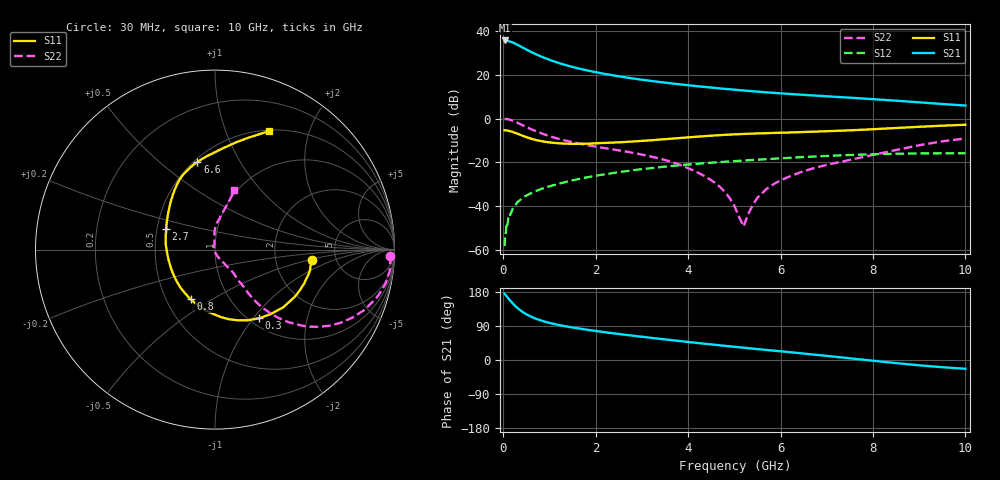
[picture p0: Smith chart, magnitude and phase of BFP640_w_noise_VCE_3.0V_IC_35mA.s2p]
! (c) 2013  Infineon Technologies AG, Munich
! Infineon Technologies  Discrete & RF Semiconductors
! BFP640
! VCE =  3.0 V,  IC =  35 mA
! Common Emitter S-Parameters:  Apr 2013
# GHz  S  MA  R  50
!  f  S11  S21  S12  S22
! GHz  MAG  ANG  MAG  ANG  MAG  ANG  MAG  ANG
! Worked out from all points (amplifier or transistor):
!   99 points, 30 MHz to 10 GHz, reference 50 ohm
!   highest |S21| = 35.8 dB at 30 MHz (marker M1)
!   |S21| within 3 dB of that: start of sweep to 399.2 MHz
!   unconditionally stable (mu >= 1): 2.084 GHz to end of sweep
!   at 350 MHz: K = 0.40, MSG = 35.5 dB, |S12| = -37.6 dB
!   at 3.5 GHz: K = 1.05, MAG = 17.8 dB, |S12| = -22.0 dB
!   at 10 GHz: K = 1.06, MAG = 9.4 dB, |S12| = -15.8 dB
!   lowest NFmin = 1.16 dB at 450 MHz
!   S11 on the Smith chart (normalised r, x): 30 MHz: 3.27, -0.51; 300 MHz: 1.11, -1.07; 800 MHz: 0.66, -0.41; 2.7 GHz: 0.56, +0.14; 6.6 GHz: 0.52, +0.68; 10 GHz: 0.51, +1.42
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0.03  0.541 -5.9  61.66 174.7  0.0012 92.8  0.9751 -2.0
0.08  0.5363 -16.5  60.85 167.2  0.0034 83.0  0.9751 -8.6
0.15  0.5158 -30.9  58.12 156.9  0.0062 78.6  0.9374 -16.8
0.2  0.4976 -40.3  55.49 150.1  0.0084 77.9  0.8987 -21.9
0.25  0.4749 -49.1  52.69 143.8  0.0097 78.2  0.8546 -26.3
0.3  0.4546 -57.4  49.53 138.2  0.0121 72.6  0.8091 -30.3
0.4  0.4136 -72.3  43.61 128.5  0.0148 68.6  0.721 -36.6
0.5  0.3768 -85.2  38.31 120.8  0.0173 67.0  0.643 -41.2
0.6  0.3479 -96.7  33.82 114.5  0.0196 65.9  0.5763 -44.6
0.7  0.3248 -107.0  30.09 109.3  0.0218 64.9  0.5202 -47.1
0.8  0.3089 -116.2  26.97 105.0  0.0241 64.1  0.4726 -48.9
1  0.2858 -132.3  22.23 98.0  0.0281 62.7  0.3978 -51.3
1.2  0.2727 -145.6  18.82 92.5  0.0323 61.7  0.3442 -52.3
1.7  0.2655 -170.9  13.54 81.9  0.0428 59.3  0.2616 -52.3
2.2  0.2775 171.5  10.56 73.3  0.053 56.1  0.2109 -52.8
2.7  0.295 157.5  8.639 65.7  0.0634 52.7  0.1728 -51.8
3.4  0.3322 141.6  6.871 55.7  0.0776 46.7  0.1203 -54.3
5.1  0.441 115.9  4.501 33.6  0.1081 31.9  0.0057 -116.0
6.6  0.4977 101.4  3.446 15.7  0.1335 18.6  0.0672 92.9
6.7  0.5023 100.3  3.396 14.5  0.135 17.7  0.0722 92.4
8.5  0.6098 78.8  2.574 -8.2  0.1569 -0.5  0.1912 80.2
10  0.7237 65.6  1.994 -23.1  0.1614 -12.6  0.3506 72.1
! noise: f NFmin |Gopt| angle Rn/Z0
0.45  1.16  0.22  -170  0.04
0.9  1.17  0.23  -159  0.07
1.5  1.18  0.26  -144  0.08
1.9  1.18  0.27  224  0.1
2.4  1.23  0.29  -122  0.11
3.5  1.36  0.34  -105  0.15
5.5  1.57  0.38  -91  0.23
10  2.02  0.62  -50  0.64
